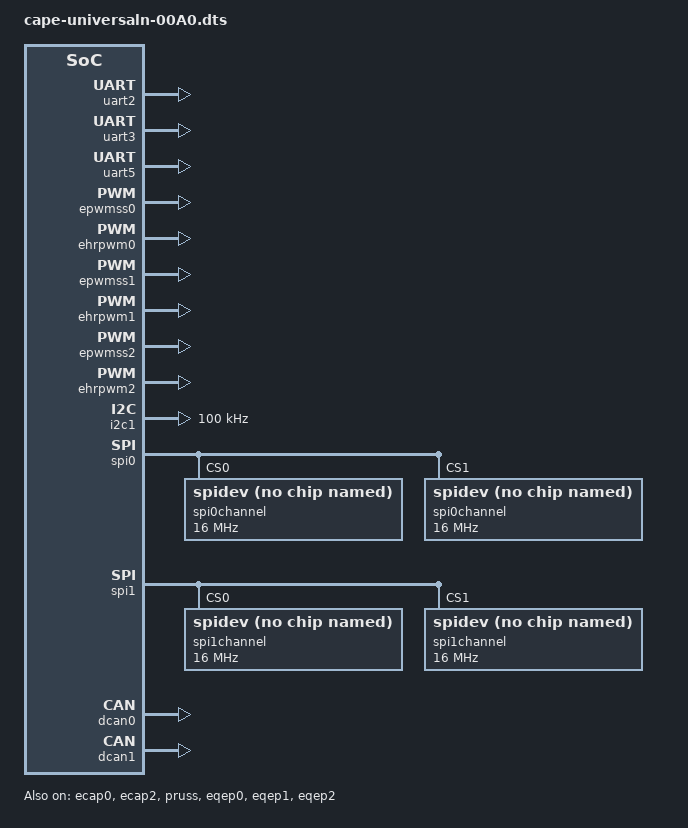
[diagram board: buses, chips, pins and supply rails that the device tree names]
// Copyright 2013
// Charles Steinkuehler <charles@steinkuehler.net>
//
// This program is free software; you can redistribute it and/or modify
// it under the terms of the GNU General Public License as published by
// the Free Software Foundation; either version 2 of the License, or
// (at your option) any later version.
//
// This program is distributed in the hope that it will be useful,
// but WITHOUT ANY WARRANTY; without even the implied warranty of
// MERCHANTABILITY or FITNESS FOR A PARTICULAR PURPOSE.  See the
// GNU General Public License for more details.
//
// You should have received a copy of the GNU General Public License
// along with this program; if not, write to the Free Software
// Foundation, Inc., 59 Temple Place, Suite 330, Boston, MA 02111-1307 USA

/dts-v1/;
/plugin/;

/ {
	compatible = "ti,beaglebone", "ti,beaglebone-black", "ti,beaglebone-green";

    /* identification */
    part-number = "cape-bone-universal";
    version = "00A0";

    /* state the resources this cape uses */
    exclusive-use =

/*      "P8.1",     GND     */
/*      "P8.2",     GND     */
/*      "P8.3",     emmc    */
/*      "P8.4",     emmc    */
/*      "P8.5",     emmc    */
/*      "P8.6",     emmc    */
        "P8.7",
        "P8.8",
        "P8.9",
        "P8.10",
        "P8.11",
        "P8.12",
        "P8.13",
        "P8.14",
        "P8.15",
        "P8.16",
        "P8.17",
        "P8.18",
        "P8.19",
/*      "P8.20",    emmc    */
/*      "P8.21",    emmc    */
/*      "P8.22",    emmc    */
/*      "P8.23",    emmc    */
/*      "P8.24",    emmc    */
/*      "P8.25",    emmc    */
        "P8.26",
/*      "P8.27",    hdmi    */
/*      "P8.28",    hdmi    */
/*      "P8.29",    hdmi    */
/*      "P8.30",    hdmi    */
/*      "P8.31",    hdmi    */
/*      "P8.32",    hdmi    */
/*      "P8.33",    hdmi    */
/*      "P8.34",    hdmi    */
/*      "P8.35",    hdmi    */
/*      "P8.36",    hdmi    */
/*      "P8.37",    hdmi    */
/*      "P8.38",    hdmi    */
/*      "P8.39",    hdmi    */
/*      "P8.40",    hdmi    */
/*      "P8.41",    hdmi    */
/*      "P8.42",    hdmi    */
/*      "P8.43",    hdmi    */
/*      "P8.44",    hdmi    */
/*      "P8.45",    hdmi    */
/*      "P8.46",    hdmi    */

/*      "P9.1",     GND     */
/*      "P9.2",     GND     */
/*      "P9.3",     3.3V    */
/*      "P9.4",     3.3V    */
/*      "P9.5",     VDD_5V  */
/*      "P9.6",     VDD_5V  */
/*      "P9.7",     SYS_5V  */
/*      "P9.8",     SYS_5V  */
/*      "P9.9",     PWR_BUT */
/*      "P9.10",    RESETn  */
        "P9.11",
        "P9.12",
        "P9.13",
        "P9.14",
        "P9.15",
        "P9.16",
        "P9.17",
        "P9.18",
/*      "P9.19",    I2C     */
/*      "P9.20",    I2C     */
        "P9.21",
        "P9.22",
        "P9.23",
        "P9.24",
/*      "P9.25",    Audio   */
        "P9.26",
        "P9.27",
/*      "P9.28",    Audio   */
/*      "P9.29",    Audio   */
        "P9.30",
/*      "P9.31",    Audio   */
/*      "P9.32",    VADC    */
/*      "P9.33",    AIN4    */
/*      "P9.34",    AGND    */
/*      "P9.35",    AIN6    */
/*      "P9.36",    AIN5    */
/*      "P9.37",    AIN2    */
/*      "P9.38",    AIN3    */
/*      "P9.39",    AIN0    */
/*      "P9.40",    AIN1    */
        "P9.41",
        "P9.41.1",
        "P9.42",
        "P9.42.1",
/*      "P9.43",    GND     */
/*      "P9.44",    GND     */
/*      "P9.45",    GND     */
/*      "P9.46",    GND     */

        "uart1",
        "uart2",
        "uart4",
//      "uart5",    /* Conflicts with HDMI  */

        "ehrpwm0A",
        "ehrpwm0B",
        "ehrpwm1A",
        "ehrpwm1B",
        "ehrpwm2A",
        "ehrpwm2B",

//        "epwmss0",
//        "ehrpwm0",
//        "ecap0",
//        "epwmss1",
//        "ehrpwm1",
//        "epwmss2",
//        "ehrpwm2",
//        "ecap2",

        "i2c1",
        "spi1",
        "spi0",
        "dcan0",
        "dcan1",

        "pru0",
        "pru1",
        "pruss";

    fragment@0 {
        target = <&am33xx_pinmux>;
        __overlay__ {

            /************************/
            /* P8 Header            */
            /************************/

            /* P8_01                GND     */
            /* P8_02                GND     */
            /* P8_03 (ZCZ ball R9 ) emmc    */
            /* P8_04 (ZCZ ball T9 ) emmc    */
            /* P8_05 (ZCZ ball R8 ) emmc    */
            /* P8_06 (ZCZ ball T8 ) emmc    */

            /* P8_07 (ZCZ ball R7 ) */
            P8_07_default_pin: pinmux_P8_07_default_pin {
                pinctrl-single,pins = <0x090  0x37>; };     /* Mode 7, Pull-Up, RxActive */
            P8_07_gpio_pin: pinmux_P8_07_gpio_pin {
                pinctrl-single,pins = <0x090  0x2F>; };     /* Mode 7, RxActive */
            P8_07_gpio_pu_pin: pinmux_P8_07_gpio_pu_pin {
                pinctrl-single,pins = <0x090  0x37>; };     /* Mode 7, Pull-Up, RxActive */
            P8_07_gpio_pd_pin: pinmux_P8_07_gpio_pd_pin {
                pinctrl-single,pins = <0x090  0x27>; };     /* Mode 7, Pull-Down, RxActive */
            P8_07_timer_pin: pinmux_P8_07_timer_pin {
                pinctrl-single,pins = <0x090  0x32>; };     /* Mode 2, Pull-Up, RxActive */

            /* P8_08 (ZCZ ball T7 ) */
            P8_08_default_pin: pinmux_P8_08_default_pin {
                pinctrl-single,pins = <0x094  0x37>; };     /* Mode 7, Pull-Up, RxActive */
            P8_08_gpio_pin: pinmux_P8_08_gpio_pin {
                pinctrl-single,pins = <0x094  0x2F>; };     /* Mode 7, RxActive */
            P8_08_gpio_pu_pin: pinmux_P8_08_gpio_pu_pin {
                pinctrl-single,pins = <0x094  0x37>; };     /* Mode 7, Pull-Up, RxActive */
            P8_08_gpio_pd_pin: pinmux_P8_08_gpio_pd_pin {
                pinctrl-single,pins = <0x094  0x27>; };     /* Mode 7, Pull-Down, RxActive */
            P8_08_timer_pin: pinmux_P8_08_timer_pin {
                pinctrl-single,pins = <0x094  0x32>; };     /* Mode 2, Pull-Up, RxActive */

            /* P8_09 (ZCZ ball T6 ) */
            P8_09_default_pin: pinmux_P8_09_default_pin {
                pinctrl-single,pins = <0x09c  0x37>; };     /* Mode 7, Pull-Up, RxActive */
            P8_09_gpio_pin: pinmux_P8_09_gpio_pin {
                pinctrl-single,pins = <0x09c  0x2F>; };     /* Mode 7, RxActive */
            P8_09_gpio_pu_pin: pinmux_P8_09_gpio_pu_pin {
                pinctrl-single,pins = <0x09c  0x37>; };     /* Mode 7, Pull-Up, RxActive */
            P8_09_gpio_pd_pin: pinmux_P8_09_gpio_pd_pin {
                pinctrl-single,pins = <0x09c  0x27>; };     /* Mode 7, Pull-Down, RxActive */
            P8_09_timer_pin: pinmux_P8_09_timer_pin {
                pinctrl-single,pins = <0x09c  0x32>; };     /* Mode 2, Pull-Up, RxActive */

            /* P8_10 (ZCZ ball U6 ) */
            P8_10_default_pin: pinmux_P8_10_default_pin {
                pinctrl-single,pins = <0x098  0x37>; };     /* Mode 7, Pull-Up, RxActive */
            P8_10_gpio_pin: pinmux_P8_10_gpio_pin {
                pinctrl-single,pins = <0x098  0x2F>; };     /* Mode 7, RxActive */
            P8_10_gpio_pu_pin: pinmux_P8_10_gpio_pu_pin {
                pinctrl-single,pins = <0x098  0x37>; };     /* Mode 7, Pull-Up, RxActive */
            P8_10_gpio_pd_pin: pinmux_P8_10_gpio_pd_pin {
                pinctrl-single,pins = <0x098  0x27>; };     /* Mode 7, Pull-Down, RxActive */
            P8_10_timer_pin: pinmux_P8_10_timer_pin {
                pinctrl-single,pins = <0x098  0x32>; };     /* Mode 2, Pull-Up, RxActive */

            /* P8_11 (ZCZ ball R12) */
            P8_11_default_pin: pinmux_P8_11_default_pin {
                pinctrl-single,pins = <0x034  0x27>; };     /* Mode 7, Pull-Down, RxActive */
            P8_11_gpio_pin: pinmux_P8_11_gpio_pin {
                pinctrl-single,pins = <0x034  0x2F>; };     /* Mode 7, RxActive */
            P8_11_gpio_pu_pin: pinmux_P8_11_gpio_pu_pin {
                pinctrl-single,pins = <0x034  0x37>; };     /* Mode 7, Pull-Up, RxActive */
            P8_11_gpio_pd_pin: pinmux_P8_11_gpio_pd_pin {
                pinctrl-single,pins = <0x034  0x27>; };     /* Mode 7, Pull-Down, RxActive */
            P8_11_pruout_pin: pinmux_P8_11_pruout_pin {
                pinctrl-single,pins = <0x034  0x26>; };     /* Mode 6, Pull-Down, RxActive */
            P8_11_qep_pin: pinmux_P8_11_qep_pin {
                pinctrl-single,pins = <0x034  0x24>; };     /* Mode 4, Pull-Down, RxActive */

            /* P8_12 (ZCZ ball T12) */
            P8_12_default_pin: pinmux_P8_12_default_pin {
                pinctrl-single,pins = <0x030  0x27>; };     /* Mode 7, Pull-Down, RxActive */
            P8_12_gpio_pin: pinmux_P8_12_gpio_pin {
                pinctrl-single,pins = <0x030  0x2F>; };     /* Mode 7, RxActive */
            P8_12_gpio_pu_pin: pinmux_P8_12_gpio_pu_pin {
                pinctrl-single,pins = <0x030  0x37>; };     /* Mode 7, Pull-Up, RxActive */
            P8_12_gpio_pd_pin: pinmux_P8_12_gpio_pd_pin {
                pinctrl-single,pins = <0x030  0x27>; };     /* Mode 7, Pull-Down, RxActive */
            P8_12_pruout_pin: pinmux_P8_12_pruout_pin {
                pinctrl-single,pins = <0x030  0x26>; };     /* Mode 6, Pull-Down, RxActive */
            P8_12_qep_pin: pinmux_P8_12_qep_pin {
                pinctrl-single,pins = <0x030  0x24>; };     /* Mode 4, Pull-Down, RxActive */

            /* P8_13 (ZCZ ball T10) */
            P8_13_default_pin: pinmux_P8_13_default_pin {
                pinctrl-single,pins = <0x024  0x27>; };     /* Mode 7, Pull-Down, RxActive */
            P8_13_gpio_pin: pinmux_P8_13_gpio_pin {
                pinctrl-single,pins = <0x024  0x2F>; };     /* Mode 7, RxActive */
            P8_13_gpio_pu_pin: pinmux_P8_13_gpio_pu_pin {
                pinctrl-single,pins = <0x024  0x37>; };     /* Mode 7, Pull-Up, RxActive */
            P8_13_gpio_pd_pin: pinmux_P8_13_gpio_pd_pin {
                pinctrl-single,pins = <0x024  0x27>; };     /* Mode 7, Pull-Down, RxActive */
            P8_13_pwm_pin: pinmux_P8_13_pwm_pin {
                pinctrl-single,pins = <0x024  0x24>; };     /* Mode 4, Pull-Down, RxActive */

            /* P8_14 (ZCZ ball T11) */
            P8_14_default_pin: pinmux_P8_14_default_pin {
                pinctrl-single,pins = <0x028  0x27>; };     /* Mode 7, Pull-Down, RxActive */
            P8_14_gpio_pin: pinmux_P8_14_gpio_pin {
                pinctrl-single,pins = <0x028  0x2F>; };     /* Mode 7, RxActive */
            P8_14_gpio_pu_pin: pinmux_P8_14_gpio_pu_pin {
                pinctrl-single,pins = <0x028  0x37>; };     /* Mode 7, Pull-Up, RxActive */
            P8_14_gpio_pd_pin: pinmux_P8_14_gpio_pd_pin {
                pinctrl-single,pins = <0x028  0x27>; };     /* Mode 7, Pull-Down, RxActive */
            P8_14_pwm_pin: pinmux_P8_14_pwm_pin {
                pinctrl-single,pins = <0x028  0x24>; };     /* Mode 4, Pull-Down, RxActive */

            /* P8_15 (ZCZ ball U13) */
            P8_15_default_pin: pinmux_P8_15_default_pin {
                pinctrl-single,pins = <0x03c  0x27>; };     /* Mode 7, Pull-Down, RxActive */
            P8_15_gpio_pin: pinmux_P8_15_gpio_pin {
                pinctrl-single,pins = <0x03c  0x2F>; };     /* Mode 7, RxActive */
            P8_15_gpio_pu_pin: pinmux_P8_15_gpio_pu_pin {
                pinctrl-single,pins = <0x03c  0x37>; };     /* Mode 7, Pull-Up, RxActive */
            P8_15_gpio_pd_pin: pinmux_P8_15_gpio_pd_pin {
                pinctrl-single,pins = <0x03c  0x27>; };     /* Mode 7, Pull-Down, RxActive */
            P8_15_pruin_pin: pinmux_P8_15_pruin_pin {
                pinctrl-single,pins = <0x03c  0x26>; };     /* Mode 6, Pull-Down, RxActive */
            P8_15_qep_pin: pinmux_P8_15_qep_pin {
                pinctrl-single,pins = <0x03c  0x24>; };     /* Mode 4, Pull-Down, RxActive */

            /* P8_16 (ZCZ ball V13) */
            P8_16_default_pin: pinmux_P8_16_default_pin {
                pinctrl-single,pins = <0x038  0x27>; };     /* Mode 7, Pull-Down, RxActive */
            P8_16_gpio_pin: pinmux_P8_16_gpio_pin {
                pinctrl-single,pins = <0x038  0x2F>; };     /* Mode 7, RxActive */
            P8_16_gpio_pu_pin: pinmux_P8_16_gpio_pu_pin {
                pinctrl-single,pins = <0x038  0x37>; };     /* Mode 7, Pull-Up, RxActive */
            P8_16_gpio_pd_pin: pinmux_P8_16_gpio_pd_pin {
                pinctrl-single,pins = <0x038  0x27>; };     /* Mode 7, Pull-Down, RxActive */
            P8_16_pruin_pin: pinmux_P8_16_pruin_pin {
                pinctrl-single,pins = <0x038  0x26>; };     /* Mode 6, Pull-Down, RxActive */
            P8_16_qep_pin: pinmux_P8_16_qep_pin {
                pinctrl-single,pins = <0x038  0x24>; };     /* Mode 4, Pull-Down, RxActive */

            /* P8_17 (ZCZ ball U12) */
            P8_17_default_pin: pinmux_P8_17_default_pin {
                pinctrl-single,pins = <0x02c  0x27>; };     /* Mode 7, Pull-Down, RxActive */
            P8_17_gpio_pin: pinmux_P8_17_gpio_pin {
                pinctrl-single,pins = <0x02c  0x2F>; };     /* Mode 7, RxActive */
            P8_17_gpio_pu_pin: pinmux_P8_17_gpio_pu_pin {
                pinctrl-single,pins = <0x02c  0x37>; };     /* Mode 7, Pull-Up, RxActive */
            P8_17_gpio_pd_pin: pinmux_P8_17_gpio_pd_pin {
                pinctrl-single,pins = <0x02c  0x27>; };     /* Mode 7, Pull-Down, RxActive */
            P8_17_pwm_pin: pinmux_P8_17_pwm_pin {
                pinctrl-single,pins = <0x02c  0x24>; };     /* Mode 4, Pull-Down, RxActive */

            /* P8_18 (ZCZ ball V12) */
            P8_18_default_pin: pinmux_P8_18_default_pin {
                pinctrl-single,pins = <0x08c  0x27>; };     /* Mode 7, Pull-Down, RxActive */
            P8_18_gpio_pin: pinmux_P8_18_gpio_pin {
                pinctrl-single,pins = <0x08c  0x2F>; };     /* Mode 7, RxActive */
            P8_18_gpio_pu_pin: pinmux_P8_18_gpio_pu_pin {
                pinctrl-single,pins = <0x08c  0x37>; };     /* Mode 7, Pull-Up, RxActive */
            P8_18_gpio_pd_pin: pinmux_P8_18_gpio_pd_pin {
                pinctrl-single,pins = <0x08c  0x27>; };     /* Mode 7, Pull-Down, RxActive */

            /* P8_19 (ZCZ ball U10) */
            P8_19_default_pin: pinmux_P8_19_default_pin {
                pinctrl-single,pins = <0x020  0x27>; };     /* Mode 7, Pull-Down, RxActive */
            P8_19_gpio_pin: pinmux_P8_19_gpio_pin {
                pinctrl-single,pins = <0x020  0x2F>; };     /* Mode 7, RxActive */
            P8_19_gpio_pu_pin: pinmux_P8_19_gpio_pu_pin {
                pinctrl-single,pins = <0x020  0x37>; };     /* Mode 7, Pull-Up, RxActive */
            P8_19_gpio_pd_pin: pinmux_P8_19_gpio_pd_pin {
                pinctrl-single,pins = <0x020  0x27>; };     /* Mode 7, Pull-Down, RxActive */
            P8_19_pwm_pin: pinmux_P8_19_pwm_pin {
                pinctrl-single,pins = <0x020  0x24>; };     /* Mode 4, Pull-Down, RxActive */

            /* P8_20 (ZCZ ball V9 ) emmc    */
            /* P8_21 (ZCZ ball U9 ) emmc    */
            /* P8_22 (ZCZ ball V8 ) emmc    */
            /* P8_23 (ZCZ ball U8 ) emmc    */
            /* P8_24 (ZCZ ball V7 ) emmc    */
            /* P8_25 (ZCZ ball U7 ) emmc    */

            /* P8_26 (ZCZ ball V6 ) */
            P8_26_default_pin: pinmux_P8_26_default_pin {
                pinctrl-single,pins = <0x07c  0x37>; };     /* Mode 7, Pull-Up, RxActive */
            P8_26_gpio_pin: pinmux_P8_26_gpio_pin {
                pinctrl-single,pins = <0x07c  0x2F>; };     /* Mode 7, RxActive */
            P8_26_gpio_pu_pin: pinmux_P8_26_gpio_pu_pin {
                pinctrl-single,pins = <0x07c  0x37>; };     /* Mode 7, Pull-Up, RxActive */
            P8_26_gpio_pd_pin: pinmux_P8_26_gpio_pd_pin {
                pinctrl-single,pins = <0x07c  0x27>; };     /* Mode 7, Pull-Down, RxActive */

            /* P8_27 (ZCZ ball U5 ) hdmi    */
            /* P8_28 (ZCZ ball V5 ) hdmi    */
            /* P8_29 (ZCZ ball R5 ) hdmi    */
            /* P8_30 (ZCZ ball R6 ) hdmi    */
            /* P8_31 (ZCZ ball V4 ) hdmi    */
            /* P8_32 (ZCZ ball T5 ) hdmi    */
            /* P8_33 (ZCZ ball V3 ) hdmi    */
            /* P8_34 (ZCZ ball U4 ) hdmi    */
            /* P8_35 (ZCZ ball V2 ) hdmi    */
            /* P8_36 (ZCZ ball U3 ) hdmi    */
            /* P8_37 (ZCZ ball U1 ) hdmi    */
            /* P8_38 (ZCZ ball U2 ) hdmi    */
            /* P8_39 (ZCZ ball T3 ) hdmi    */
            /* P8_40 (ZCZ ball T4 ) hdmi    */
            /* P8_41 (ZCZ ball T1 ) hdmi    */
            /* P8_42 (ZCZ ball T2 ) hdmi    */
            /* P8_43 (ZCZ ball R3 ) hdmi    */
            /* P8_44 (ZCZ ball R4 ) hdmi    */
            /* P8_45 (ZCZ ball R1 ) hdmi    */
            /* P8_46 (ZCZ ball R2 ) hdmi    */


            /************************/
            /* P9 Header            */
            /************************/

            /* P9_01                GND     */
            /* P9_02                GND     */
            /* P9_03                3.3V    */
            /* P9_04                3.3V    */
            /* P9_05                VDD_5V  */
            /* P9_06                VDD_5V  */
            /* P9_07                SYS_5V  */
            /* P9_08                SYS_5V  */
            /* P9_09                PWR_BUT */
            /* P9_10 (ZCZ ball A10) RESETn  */

            /* P9_11 (ZCZ ball T17) */
            P9_11_default_pin: pinmux_P9_11_default_pin {
                pinctrl-single,pins = <0x070  0x37>; };     /* Mode 7, Pull-Up, RxActive */
            P9_11_gpio_pin: pinmux_P9_11_gpio_pin {
                pinctrl-single,pins = <0x070  0x2F>; };     /* Mode 7, RxActive */
            P9_11_gpio_pu_pin: pinmux_P9_11_gpio_pu_pin {
                pinctrl-single,pins = <0x070  0x37>; };     /* Mode 7, Pull-Up, RxActive */
            P9_11_gpio_pd_pin: pinmux_P9_11_gpio_pd_pin {
                pinctrl-single,pins = <0x070  0x27>; };     /* Mode 7, Pull-Down, RxActive */
            P9_11_uart_pin: pinmux_P9_11_uart_pin {
                pinctrl-single,pins = <0x070  0x36>; };     /* Mode 6, Pull-Up, RxActive */

            /* P9_12 (ZCZ ball U18) */
            P9_12_default_pin: pinmux_P9_12_default_pin {
                pinctrl-single,pins = <0x078  0x37>; };     /* Mode 7, Pull-Up, RxActive */
            P9_12_gpio_pin: pinmux_P9_12_gpio_pin {
                pinctrl-single,pins = <0x078  0x2F>; };     /* Mode 7, RxActive */
            P9_12_gpio_pu_pin: pinmux_P9_12_gpio_pu_pin {
                pinctrl-single,pins = <0x078  0x37>; };     /* Mode 7, Pull-Up, RxActive */
            P9_12_gpio_pd_pin: pinmux_P9_12_gpio_pd_pin {
                pinctrl-single,pins = <0x078  0x27>; };     /* Mode 7, Pull-Down, RxActive */

            /* P9_13 (ZCZ ball U17) */
            P9_13_default_pin: pinmux_P9_13_default_pin {
                pinctrl-single,pins = <0x074  0x37>; };     /* Mode 7, Pull-Up, RxActive */
            P9_13_gpio_pin: pinmux_P9_13_gpio_pin {
                pinctrl-single,pins = <0x074  0x2F>; };     /* Mode 7, RxActive */
            P9_13_gpio_pu_pin: pinmux_P9_13_gpio_pu_pin {
                pinctrl-single,pins = <0x074  0x37>; };     /* Mode 7, Pull-Up, RxActive */
            P9_13_gpio_pd_pin: pinmux_P9_13_gpio_pd_pin {
                pinctrl-single,pins = <0x074  0x27>; };     /* Mode 7, Pull-Down, RxActive */
            P9_13_uart_pin: pinmux_P9_13_uart_pin {
                pinctrl-single,pins = <0x074  0x36>; };     /* Mode 6, Pull-Up, RxActive */

            /* P9_14 (ZCZ ball U14) */
            P9_14_default_pin: pinmux_P9_14_default_pin {
                pinctrl-single,pins = <0x048  0x27>; };     /* Mode 7, Pull-Down, RxActive */
            P9_14_gpio_pin: pinmux_P9_14_gpio_pin {
                pinctrl-single,pins = <0x048  0x2F>; };     /* Mode 7, RxActive */
            P9_14_gpio_pu_pin: pinmux_P9_14_gpio_pu_pin {
                pinctrl-single,pins = <0x048  0x37>; };     /* Mode 7, Pull-Up, RxActive */
            P9_14_gpio_pd_pin: pinmux_P9_14_gpio_pd_pin {
                pinctrl-single,pins = <0x048  0x27>; };     /* Mode 7, Pull-Down, RxActive */
            P9_14_pwm_pin: pinmux_P9_14_pwm_pin {
                pinctrl-single,pins = <0x048  0x26>; };     /* Mode 6, Pull-Down, RxActive */

            /* P9_15 (ZCZ ball R13) */
            P9_15_default_pin: pinmux_P9_15_default_pin {
                pinctrl-single,pins = <0x040  0x27>; };     /* Mode 7, Pull-Down, RxActive */
            P9_15_gpio_pin: pinmux_P9_15_gpio_pin {
                pinctrl-single,pins = <0x040  0x2F>; };     /* Mode 7, RxActive */
            P9_15_gpio_pu_pin: pinmux_P9_15_gpio_pu_pin {
                pinctrl-single,pins = <0x040  0x37>; };     /* Mode 7, Pull-Up, RxActive */
            P9_15_gpio_pd_pin: pinmux_P9_15_gpio_pd_pin {
                pinctrl-single,pins = <0x040  0x27>; };     /* Mode 7, Pull-Down, RxActive */
            P9_15_pwm_pin: pinmux_P9_15_pwm_pin {
                pinctrl-single,pins = <0x040  0x26>; };     /* Mode 6, Pull-Down, RxActive */

            /* P9_16 (ZCZ ball T14) */
            P9_16_default_pin: pinmux_P9_16_default_pin {
                pinctrl-single,pins = <0x04c  0x27>; };     /* Mode 7, Pull-Down, RxActive */
            P9_16_gpio_pin: pinmux_P9_16_gpio_pin {
                pinctrl-single,pins = <0x04c  0x2F>; };     /* Mode 7, RxActive */
            P9_16_gpio_pu_pin: pinmux_P9_16_gpio_pu_pin {
                pinctrl-single,pins = <0x04c  0x37>; };     /* Mode 7, Pull-Up, RxActive */
            P9_16_gpio_pd_pin: pinmux_P9_16_gpio_pd_pin {
                pinctrl-single,pins = <0x04c  0x27>; };     /* Mode 7, Pull-Down, RxActive */
            P9_16_pwm_pin: pinmux_P9_16_pwm_pin {
                pinctrl-single,pins = <0x04c  0x26>; };     /* Mode 6, Pull-Down, RxActive */

            /* P9_17 (ZCZ ball A16) */
            P9_17_default_pin: pinmux_P9_17_default_pin {
                pinctrl-single,pins = <0x15c  0x37>; };     /* Mode 7, Pull-Up, RxActive */
            P9_17_gpio_pin: pinmux_P9_17_gpio_pin {
                pinctrl-single,pins = <0x15c  0x2F>; };     /* Mode 7, RxActive */
            P9_17_gpio_pu_pin: pinmux_P9_17_gpio_pu_pin {
                pinctrl-single,pins = <0x15c  0x37>; };     /* Mode 7, Pull-Up, RxActive */
            P9_17_gpio_pd_pin: pinmux_P9_17_gpio_pd_pin {
                pinctrl-single,pins = <0x15c  0x27>; };     /* Mode 7, Pull-Down, RxActive */
            P9_17_spi_pin: pinmux_P9_17_spi_pin {
                pinctrl-single,pins = <0x15c  0x30>; };     /* Mode 0, Pull-Up, RxActive */
            P9_17_i2c_pin: pinmux_P9_17_i2c_pin {
                pinctrl-single,pins = <0x15c  0x32>; };     /* Mode 2, Pull-Up, RxActive */
            P9_17_pwm_pin: pinmux_P9_17_pwm_pin {
                pinctrl-single,pins = <0x15c  0x33>; };     /* Mode 3, Pull-Up, RxActive */

            /* P9_18 (ZCZ ball B16) */
            P9_18_default_pin: pinmux_P9_18_default_pin {
                pinctrl-single,pins = <0x158  0x37>; };     /* Mode 7, Pull-Up, RxActive */
            P9_18_gpio_pin: pinmux_P9_18_gpio_pin {
                pinctrl-single,pins = <0x158  0x2F>; };     /* Mode 7, RxActive */
            P9_18_gpio_pu_pin: pinmux_P9_18_gpio_pu_pin {
                pinctrl-single,pins = <0x158  0x37>; };     /* Mode 7, Pull-Up, RxActive */
            P9_18_gpio_pd_pin: pinmux_P9_18_gpio_pd_pin {
                pinctrl-single,pins = <0x158  0x27>; };     /* Mode 7, Pull-Down, RxActive */
            P9_18_spi_pin: pinmux_P9_18_spi_pin {
                pinctrl-single,pins = <0x158  0x30>; };     /* Mode 0, Pull-Up, RxActive */
            P9_18_i2c_pin: pinmux_P9_18_i2c_pin {
                pinctrl-single,pins = <0x158  0x32>; };     /* Mode 2, Pull-Up, RxActive */
            P9_18_pwm_pin: pinmux_P9_18_pwm_pin {
                pinctrl-single,pins = <0x158  0x33>; };     /* Mode 3, Pull-Up, RxActive */

            // Leave the cape I2C EEPROM bus alone
            /* P9_19 (ZCZ ball D17) I2C     */
            /* P9_20 (ZCZ ball D18) I2C     */

            /* P9_21 (ZCZ ball B17) */
            P9_21_default_pin: pinmux_P9_21_default_pin {
                pinctrl-single,pins = <0x154  0x37>; };     /* Mode 7, Pull-Up, RxActive */
            P9_21_gpio_pin: pinmux_P9_21_gpio_pin {
                pinctrl-single,pins = <0x154  0x2F>; };     /* Mode 7, RxActive */
            P9_21_gpio_pu_pin: pinmux_P9_21_gpio_pu_pin {
                pinctrl-single,pins = <0x154  0x37>; };     /* Mode 7, Pull-Up, RxActive */
            P9_21_gpio_pd_pin: pinmux_P9_21_gpio_pd_pin {
                pinctrl-single,pins = <0x154  0x27>; };     /* Mode 7, Pull-Down, RxActive */
            P9_21_spi_pin: pinmux_P9_21_spi_pin {
                pinctrl-single,pins = <0x154  0x30>; };     /* Mode 0, Pull-Up, RxActive */
            P9_21_uart_pin: pinmux_P9_21_uart_pin {
                pinctrl-single,pins = <0x154  0x31>; };     /* Mode 1, Pull-Up, RxActive */
            P9_21_i2c_pin: pinmux_P9_21_i2c_pin {
                pinctrl-single,pins = <0x154  0x32>; };     /* Mode 2, Pull-Up, RxActive */
            P9_21_pwm_pin: pinmux_P9_21_pwm_pin {
                pinctrl-single,pins = <0x154  0x33>; };     /* Mode 3, Pull-Up, RxActive */

            /* P9_22 (ZCZ ball A17) */
            P9_22_default_pin: pinmux_P9_22_default_pin {
                pinctrl-single,pins = <0x150  0x37>; };     /* Mode 7, Pull-Up, RxActive */
            P9_22_gpio_pin: pinmux_P9_22_gpio_pin {
                pinctrl-single,pins = <0x150  0x2F>; };     /* Mode 7, RxActive */
            P9_22_gpio_pu_pin: pinmux_P9_22_gpio_pu_pin {
                pinctrl-single,pins = <0x150  0x37>; };     /* Mode 7, Pull-Up, RxActive */
            P9_22_gpio_pd_pin: pinmux_P9_22_gpio_pd_pin {
                pinctrl-single,pins = <0x150  0x27>; };     /* Mode 7, Pull-Down, RxActive */
            P9_22_spi_pin: pinmux_P9_22_spi_pin {
                pinctrl-single,pins = <0x150  0x30>; };     /* Mode 0, Pull-Up, RxActive */
            P9_22_uart_pin: pinmux_P9_22_uart_pin {
                pinctrl-single,pins = <0x150  0x31>; };     /* Mode 1, Pull-Up, RxActive */
            P9_22_i2c_pin: pinmux_P9_22_i2c_pin {
                pinctrl-single,pins = <0x150  0x32>; };     /* Mode 2, Pull-Up, RxActive */
            P9_22_pwm_pin: pinmux_P9_22_pwm_pin {
                pinctrl-single,pins = <0x150  0x33>; };     /* Mode 3, Pull-Up, RxActive */

            /* P9_23 (ZCZ ball V14) */
            P9_23_default_pin: pinmux_P9_23_default_pin {
                pinctrl-single,pins = <0x044  0x27>; };     /* Mode 7, Pull-Down, RxActive */
            P9_23_gpio_pin: pinmux_P9_23_gpio_pin {
                pinctrl-single,pins = <0x044  0x2F>; };     /* Mode 7, RxActive */
            P9_23_gpio_pu_pin: pinmux_P9_23_gpio_pu_pin {
                pinctrl-single,pins = <0x044  0x37>; };     /* Mode 7, Pull-Up, RxActive */
            P9_23_gpio_pd_pin: pinmux_P9_23_gpio_pd_pin {
                pinctrl-single,pins = <0x044  0x27>; };     /* Mode 7, Pull-Down, RxActive */
            P9_23_pwm_pin: pinmux_P9_23_pwm_pin {
                pinctrl-single,pins = <0x044  0x26>; };     /* Mode 6, Pull-Down, RxActive */

            /* P9_24 (ZCZ ball D15) */
            P9_24_default_pin: pinmux_P9_24_default_pin {
                pinctrl-single,pins = <0x184  0x37>; };     /* Mode 7, Pull-Up, RxActive */
            P9_24_gpio_pin: pinmux_P9_24_gpio_pin {
                pinctrl-single,pins = <0x184  0x2F>; };     /* Mode 7, RxActive */
            P9_24_gpio_pu_pin: pinmux_P9_24_gpio_pu_pin {
                pinctrl-single,pins = <0x184  0x37>; };     /* Mode 7, Pull-Up, RxActive */
            P9_24_gpio_pd_pin: pinmux_P9_24_gpio_pd_pin {
                pinctrl-single,pins = <0x184  0x27>; };     /* Mode 7, Pull-Down, RxActive */
            P9_24_uart_pin: pinmux_P9_24_uart_pin {
                pinctrl-single,pins = <0x184  0x30>; };     /* Mode 0, Pull-Up, RxActive */
            P9_24_can_pin: pinmux_P9_24_can_pin {
                pinctrl-single,pins = <0x184  0x32>; };     /* Mode 2, Pull-Up, RxActive */
            P9_24_i2c_pin: pinmux_P9_24_i2c_pin {
                pinctrl-single,pins = <0x184  0x33>; };     /* Mode 3, Pull-Up, RxActive */
            P9_24_pruin_pin: pinmux_P9_24_pruin_pin {
                pinctrl-single,pins = <0x184  0x36>; };     /* Mode 6, Pull-Up, RxActive */

            /* P9_25 (ZCZ ball A14) Audio   */

            /* P9_26 (ZCZ ball D16) */
            P9_26_default_pin: pinmux_P9_26_default_pin {
                pinctrl-single,pins = <0x180  0x37>; };     /* Mode 7, Pull-Up, RxActive */
            P9_26_gpio_pin: pinmux_P9_26_gpio_pin {
                pinctrl-single,pins = <0x180  0x2F>; };     /* Mode 7, RxActive */
            P9_26_gpio_pu_pin: pinmux_P9_26_gpio_pu_pin {
                pinctrl-single,pins = <0x180  0x37>; };     /* Mode 7, Pull-Up, RxActive */
            P9_26_gpio_pd_pin: pinmux_P9_26_gpio_pd_pin {
                pinctrl-single,pins = <0x180  0x27>; };     /* Mode 7, Pull-Down, RxActive */
            P9_26_uart_pin: pinmux_P9_26_uart_pin {
                pinctrl-single,pins = <0x180  0x30>; };     /* Mode 0, Pull-Up, RxActive */
            P9_26_can_pin: pinmux_P9_26_can_pin {
                pinctrl-single,pins = <0x180  0x32>; };     /* Mode 2, Pull-Up, RxActive */
            P9_26_i2c_pin: pinmux_P9_26_i2c_pin {
                pinctrl-single,pins = <0x180  0x33>; };     /* Mode 3, Pull-Up, RxActive */
            P9_26_pruin_pin: pinmux_P9_26_pruin_pin {
                pinctrl-single,pins = <0x180  0x36>; };     /* Mode 6, Pull-Up, RxActive */

            /* P9_27 (ZCZ ball C13) */
            P9_27_default_pin: pinmux_P9_27_default_pin {
                pinctrl-single,pins = <0x1a4  0x27>; };     /* Mode 7, Pull-Down, RxActive */
            P9_27_gpio_pin: pinmux_P9_27_gpio_pin {
                pinctrl-single,pins = <0x1a4  0x2F>; };     /* Mode 7, RxActive */
            P9_27_gpio_pu_pin: pinmux_P9_27_gpio_pu_pin {
                pinctrl-single,pins = <0x1a4  0x37>; };     /* Mode 7, Pull-Up, RxActive */
            P9_27_gpio_pd_pin: pinmux_P9_27_gpio_pd_pin {
                pinctrl-single,pins = <0x1a4  0x27>; };     /* Mode 7, Pull-Down, RxActive */
            P9_27_qep_pin: pinmux_P9_27_qep_pin {
                pinctrl-single,pins = <0x1a4  0x21>; };     /* Mode 1, Pull-Down, RxActive */
            P9_27_pruout_pin: pinmux_P9_27_pruout_pin {
                pinctrl-single,pins = <0x1a4  0x25>; };     /* Mode 5, Pull-Down, RxActive */
            P9_27_pruin_pin: pinmux_P9_27_pruin_pin {
                pinctrl-single,pins = <0x1a4  0x26>; };     /* Mode 6, Pull-Down, RxActive */

            /* P9_28 (ZCZ ball C12) Audio   */
            /* P9_29 (ZCZ ball B13) Audio   */

            /* P9_30 (ZCZ ball D12) */
            P9_30_default_pin: pinmux_P9_30_default_pin {
                pinctrl-single,pins = <0x198  0x27>; };     /* Mode 7, Pull-Down, RxActive */
            P9_30_gpio_pin: pinmux_P9_30_gpio_pin {
                pinctrl-single,pins = <0x198  0x2F>; };     /* Mode 7, RxActive */
            P9_30_gpio_pu_pin: pinmux_P9_30_gpio_pu_pin {
                pinctrl-single,pins = <0x198  0x37>; };     /* Mode 7, Pull-Up, RxActive */
            P9_30_gpio_pd_pin: pinmux_P9_30_gpio_pd_pin {
                pinctrl-single,pins = <0x198  0x27>; };     /* Mode 7, Pull-Down, RxActive */
            P9_30_pwm_pin: pinmux_P9_30_pwm_pin {
                pinctrl-single,pins = <0x198  0x21>; };     /* Mode 1, Pull-Down, RxActive */
            P9_30_spi_pin: pinmux_P9_30_spi_pin {
                pinctrl-single,pins = <0x198  0x23>; };     /* Mode 3, Pull-Down, RxActive */
            P9_30_pruout_pin: pinmux_P9_30_pruout_pin {
                pinctrl-single,pins = <0x198  0x25>; };     /* Mode 5, Pull-Down, RxActive */
            P9_30_pruin_pin: pinmux_P9_30_pruin_pin {
                pinctrl-single,pins = <0x198  0x26>; };     /* Mode 6, Pull-Down, RxActive */

            /* P9_31 (ZCZ ball A13) Audio   */

            /* P9_32                VADC    */
            /* P9_33 (ZCZ ball C8 ) AIN4    */
            /* P9_34                AGND    */
            /* P9_35 (ZCZ ball A8 ) AIN6    */
            /* P9_36 (ZCZ ball B8 ) AIN5    */
            /* P9_37 (ZCZ ball B7 ) AIN2    */
            /* P9_38 (ZCZ ball A7 ) AIN3    */
            /* P9_39 (ZCZ ball B6 ) AIN0    */
            /* P9_40 (ZCZ ball C7 ) AIN1    */

            /* P9_41 (ZCZ ball D14) */
            P9_41_default_pin: pinmux_P9_41_default_pin {
                pinctrl-single,pins = <0x1b4  0x27>; };     /* Mode 7, Pull-Down, RxActive */
            P9_41_gpio_pin: pinmux_P9_41_gpio_pin {
                pinctrl-single,pins = <0x1b4  0x2F>; };     /* Mode 7, RxActive */
            P9_41_gpio_pu_pin: pinmux_P9_41_gpio_pu_pin {
                pinctrl-single,pins = <0x1b4  0x37>; };     /* Mode 7, Pull-Up, RxActive */
            P9_41_gpio_pd_pin: pinmux_P9_41_gpio_pd_pin {
                pinctrl-single,pins = <0x1b4  0x27>; };     /* Mode 7, Pull-Down, RxActive */
            P9_41_timer_pin: pinmux_P9_41_timer_pin {
                pinctrl-single,pins = <0x1b4  0x24>; };     /* Mode 4, Pull-Down, RxActive */
            P9_41_pruin_pin: pinmux_P9_41_pruin_pin {
                pinctrl-single,pins = <0x1b4  0x25>; };     /* Mode 5, Pull-Down, RxActive */

            /* P9_41.1              */
            /* P9_91 (ZCZ ball D13) */
            P9_91_default_pin: pinmux_P9_91_default_pin {
                pinctrl-single,pins = <0x1a8  0x27>; };     /* Mode 7, Pull-Down, RxActive */
            P9_91_gpio_pin: pinmux_P9_91_gpio_pin {
                pinctrl-single,pins = <0x1a8  0x2F>; };     /* Mode 7, RxActive */
            P9_91_gpio_pu_pin: pinmux_P9_91_gpio_pu_pin {
                pinctrl-single,pins = <0x1a8  0x37>; };     /* Mode 7, Pull-Up, RxActive */
            P9_91_gpio_pd_pin: pinmux_P9_91_gpio_pd_pin {
                pinctrl-single,pins = <0x1a8  0x27>; };     /* Mode 7, Pull-Down, RxActive */
            P9_91_qep_pin: pinmux_P9_91_qep_pin {
                pinctrl-single,pins = <0x1a8  0x21>; };     /* Mode 1, Pull-Down, RxActive */
            P9_91_pruout_pin: pinmux_P9_91_pruout_pin {
                pinctrl-single,pins = <0x1a8  0x25>; };     /* Mode 5, Pull-Down, RxActive */
            P9_91_pruin_pin: pinmux_P9_91_pruin_pin {
                pinctrl-single,pins = <0x1a8  0x26>; };     /* Mode 6, Pull-Down, RxActive */

            /* P9_42 (ZCZ ball C18) */
            P9_42_default_pin: pinmux_P9_42_default_pin {
                pinctrl-single,pins = <0x164  0x27>; };     /* Mode 7, Pull-Down, RxActive */
            P9_42_gpio_pin: pinmux_P9_42_gpio_pin {
                pinctrl-single,pins = <0x164  0x2F>; };     /* Mode 7, RxActive */
            P9_42_gpio_pu_pin: pinmux_P9_42_gpio_pu_pin {
                pinctrl-single,pins = <0x164  0x37>; };     /* Mode 7, Pull-Up, RxActive */
            P9_42_gpio_pd_pin: pinmux_P9_42_gpio_pd_pin {
                pinctrl-single,pins = <0x164  0x27>; };     /* Mode 7, Pull-Down, RxActive */
            P9_42_pwm_pin: pinmux_P9_42_pwm_pin {
                pinctrl-single,pins = <0x164  0x20>; };     /* Mode 0, Pull-Down, RxActive */
            P9_42_uart_pin: pinmux_P9_42_uart_pin {
                pinctrl-single,pins = <0x164  0x21>; };     /* Mode 1, Pull-Down, RxActive */
            P9_42_spics_pin: pinmux_P9_42_spics_pin {
                pinctrl-single,pins = <0x164  0x22>; };     /* Mode 2, Pull-Down, RxActive */
            P9_42_spiclk_pin: pinmux_P9_42_spiclk_pin {
                pinctrl-single,pins = <0x164  0x24>; };     /* Mode 4, Pull-Down, RxActive */

            /* P9_42.1              */
            /* P9_92 (ZCZ ball B12) */
            P9_92_default_pin: pinmux_P9_92_default_pin {
                pinctrl-single,pins = <0x1a0  0x27>; };     /* Mode 7, Pull-Down, RxActive */
            P9_92_gpio_pin: pinmux_P9_92_gpio_pin {
                pinctrl-single,pins = <0x1a0  0x2F>; };     /* Mode 7, RxActive */
            P9_92_gpio_pu_pin: pinmux_P9_92_gpio_pu_pin {
                pinctrl-single,pins = <0x1a0  0x37>; };     /* Mode 7, Pull-Up, RxActive */
            P9_92_gpio_pd_pin: pinmux_P9_92_gpio_pd_pin {
                pinctrl-single,pins = <0x1a0  0x27>; };     /* Mode 7, Pull-Down, RxActive */
            P9_92_qep_pin: pinmux_P9_92_qep_pin {
                pinctrl-single,pins = <0x1a0  0x21>; };     /* Mode 1, Pull-Down, RxActive */
            P9_92_pruout_pin: pinmux_P9_92_pruout_pin {
                pinctrl-single,pins = <0x1a0  0x25>; };     /* Mode 5, Pull-Down, RxActive */
            P9_92_pruin_pin: pinmux_P9_92_pruin_pin {
                pinctrl-single,pins = <0x1a0  0x26>; };     /* Mode 6, Pull-Down, RxActive */

            /* P9_43                GND     */
            /* P9_44                GND     */
            /* P9_45                GND     */
            /* P9_46                GND     */

        };
    };


    /************************/
    /* Pin Multiplexing     */
    /************************/

    fragment@1 {
        target = <&ocp>;
        __overlay__ {

            /************************/
            /* P8 Header            */
            /************************/

            P8_07_pinmux {
                compatible = "bone-pinmux-helper";
                status = "okay";

                pinctrl-names = "default", "gpio", "gpio_pu", "gpio_pd", "timer";
                pinctrl-0 = <&P8_07_default_pin>;
                pinctrl-1 = <&P8_07_gpio_pin>;
                pinctrl-2 = <&P8_07_gpio_pu_pin>;
                pinctrl-3 = <&P8_07_gpio_pd_pin>;
                pinctrl-4 = <&P8_07_timer_pin>;
            };

            P8_08_pinmux {
                compatible = "bone-pinmux-helper";
                status = "okay";
                pinctrl-names = "default", "gpio", "gpio_pu", "gpio_pd", "timer";
                pinctrl-0 = <&P8_08_default_pin>;
                pinctrl-1 = <&P8_08_gpio_pin>;
                pinctrl-2 = <&P8_08_gpio_pu_pin>;
                pinctrl-3 = <&P8_08_gpio_pd_pin>;
                pinctrl-4 = <&P8_08_timer_pin>;
            };

            P8_09_pinmux {
                compatible = "bone-pinmux-helper";
                status = "okay";
                pinctrl-names = "default", "gpio", "gpio_pu", "gpio_pd", "timer";
                pinctrl-0 = <&P8_09_default_pin>;
                pinctrl-1 = <&P8_09_gpio_pin>;
                pinctrl-2 = <&P8_09_gpio_pu_pin>;
                pinctrl-3 = <&P8_09_gpio_pd_pin>;
                pinctrl-4 = <&P8_09_timer_pin>;
            };

            P8_10_pinmux {
                compatible = "bone-pinmux-helper";
                status = "okay";
                pinctrl-names = "default", "gpio", "gpio_pu", "gpio_pd", "timer";
                pinctrl-0 = <&P8_10_default_pin>;
                pinctrl-1 = <&P8_10_gpio_pin>;
                pinctrl-2 = <&P8_10_gpio_pu_pin>;
                pinctrl-3 = <&P8_10_gpio_pd_pin>;
                pinctrl-4 = <&P8_10_timer_pin>;
            };

            P8_11_pinmux {
                compatible = "bone-pinmux-helper";
                status = "okay";
                pinctrl-names = "default", "gpio", "gpio_pu", "gpio_pd", "pruout", "qep";
                pinctrl-0 = <&P8_11_default_pin>;
                pinctrl-1 = <&P8_11_gpio_pin>;
                pinctrl-2 = <&P8_11_gpio_pu_pin>;
                pinctrl-3 = <&P8_11_gpio_pd_pin>;
                pinctrl-4 = <&P8_11_pruout_pin>;
                pinctrl-5 = <&P8_11_qep_pin>;
            };

            P8_12_pinmux {
                compatible = "bone-pinmux-helper";
                status = "okay";
                pinctrl-names = "default", "gpio", "gpio_pu", "gpio_pd", "pruout", "qep";
                pinctrl-0 = <&P8_12_default_pin>;
                pinctrl-1 = <&P8_12_gpio_pin>;
                pinctrl-2 = <&P8_12_gpio_pu_pin>;
                pinctrl-3 = <&P8_12_gpio_pd_pin>;
                pinctrl-4 = <&P8_12_pruout_pin>;
                pinctrl-5 = <&P8_12_qep_pin>;
            };

            P8_13_pinmux {
                compatible = "bone-pinmux-helper";
                status = "okay";
                pinctrl-names = "default", "gpio", "gpio_pu", "gpio_pd", "pwm";
                pinctrl-0 = <&P8_13_default_pin>;
                pinctrl-1 = <&P8_13_gpio_pin>;
                pinctrl-2 = <&P8_13_gpio_pu_pin>;
                pinctrl-3 = <&P8_13_gpio_pd_pin>;
                pinctrl-4 = <&P8_13_pwm_pin>;
            };

            P8_14_pinmux {
                compatible = "bone-pinmux-helper";
                status = "okay";
                pinctrl-names = "default", "gpio", "gpio_pu", "gpio_pd", "pwm";
                pinctrl-0 = <&P8_14_default_pin>;
                pinctrl-1 = <&P8_14_gpio_pin>;
                pinctrl-2 = <&P8_14_gpio_pu_pin>;
                pinctrl-3 = <&P8_14_gpio_pd_pin>;
                pinctrl-4 = <&P8_14_pwm_pin>;
            };

            P8_15_pinmux {
                compatible = "bone-pinmux-helper";
                status = "okay";
                pinctrl-names = "default", "gpio", "gpio_pu", "gpio_pd", "pruin", "qep";
                pinctrl-0 = <&P8_15_default_pin>;
                pinctrl-1 = <&P8_15_gpio_pin>;
                pinctrl-2 = <&P8_15_gpio_pu_pin>;
                pinctrl-3 = <&P8_15_gpio_pd_pin>;
                pinctrl-4 = <&P8_15_pruin_pin>;
                pinctrl-5 = <&P8_15_qep_pin>;
            };

            P8_16_pinmux {
                compatible = "bone-pinmux-helper";
                status = "okay";
                pinctrl-names = "default", "gpio", "gpio_pu", "gpio_pd", "pruin", "qep";
                pinctrl-0 = <&P8_16_default_pin>;
                pinctrl-1 = <&P8_16_gpio_pin>;
                pinctrl-2 = <&P8_16_gpio_pu_pin>;
                pinctrl-3 = <&P8_16_gpio_pd_pin>;
                pinctrl-4 = <&P8_16_pruin_pin>;
                pinctrl-5 = <&P8_16_qep_pin>;
            };

            P8_17_pinmux {
                compatible = "bone-pinmux-helper";
                status = "okay";
                pinctrl-names = "default", "gpio", "gpio_pu", "gpio_pd", "pwm";
                pinctrl-0 = <&P8_17_default_pin>;
                pinctrl-1 = <&P8_17_gpio_pin>;
                pinctrl-2 = <&P8_17_gpio_pu_pin>;
                pinctrl-3 = <&P8_17_gpio_pd_pin>;
                pinctrl-4 = <&P8_17_pwm_pin>;
            };

            P8_18_pinmux {
                compatible = "bone-pinmux-helper";
                status = "okay";
                pinctrl-names = "default", "gpio", "gpio_pu", "gpio_pd";
                pinctrl-0 = <&P8_18_default_pin>;
                pinctrl-1 = <&P8_18_gpio_pin>;
                pinctrl-2 = <&P8_18_gpio_pu_pin>;
                pinctrl-3 = <&P8_18_gpio_pd_pin>;
            };

            P8_19_pinmux {
                compatible = "bone-pinmux-helper";
                status = "okay";
                pinctrl-names = "default", "gpio", "gpio_pu", "gpio_pd", "pwm";
                pinctrl-0 = <&P8_19_default_pin>;
                pinctrl-1 = <&P8_19_gpio_pin>;
                pinctrl-2 = <&P8_19_gpio_pu_pin>;
                pinctrl-3 = <&P8_19_gpio_pd_pin>;
                pinctrl-4 = <&P8_19_pwm_pin>;
            };

            P8_26_pinmux {
                compatible = "bone-pinmux-helper";
                status = "okay";
                pinctrl-names = "default", "gpio", "gpio_pu", "gpio_pd";
                pinctrl-0 = <&P8_26_default_pin>;
                pinctrl-1 = <&P8_26_gpio_pin>;
                pinctrl-2 = <&P8_26_gpio_pu_pin>;
                pinctrl-3 = <&P8_26_gpio_pd_pin>;
            };


            /************************/
            /* P9 Header            */
            /************************/

            P9_11_pinmux {
                compatible = "bone-pinmux-helper";
                status = "okay";
                pinctrl-names = "default", "gpio", "gpio_pu", "gpio_pd", "uart";
                pinctrl-0 = <&P9_11_default_pin>;
                pinctrl-1 = <&P9_11_gpio_pin>;
                pinctrl-2 = <&P9_11_gpio_pu_pin>;
                pinctrl-3 = <&P9_11_gpio_pd_pin>;
                pinctrl-4 = <&P9_11_uart_pin>;
            };

            P9_12_pinmux {
                compatible = "bone-pinmux-helper";
                status = "okay";
                pinctrl-names = "default", "gpio", "gpio_pu", "gpio_pd";
                pinctrl-0 = <&P9_12_default_pin>;
                pinctrl-1 = <&P9_12_gpio_pin>;
                pinctrl-2 = <&P9_12_gpio_pu_pin>;
                pinctrl-3 = <&P9_12_gpio_pd_pin>;
            };

            P9_13_pinmux {
                compatible = "bone-pinmux-helper";
                status = "okay";
                pinctrl-names = "default", "gpio", "gpio_pu", "gpio_pd", "uart";
                pinctrl-0 = <&P9_13_default_pin>;
                pinctrl-1 = <&P9_13_gpio_pin>;
                pinctrl-2 = <&P9_13_gpio_pu_pin>;
                pinctrl-3 = <&P9_13_gpio_pd_pin>;
                pinctrl-4 = <&P9_13_uart_pin>;
            };

            P9_14_pinmux {
                compatible = "bone-pinmux-helper";
                status = "okay";
                pinctrl-names = "default", "gpio", "gpio_pu", "gpio_pd", "pwm";
                pinctrl-0 = <&P9_14_default_pin>;
                pinctrl-1 = <&P9_14_gpio_pin>;
                pinctrl-2 = <&P9_14_gpio_pu_pin>;
                pinctrl-3 = <&P9_14_gpio_pd_pin>;
                pinctrl-4 = <&P9_14_pwm_pin>;
            };

            P9_15_pinmux {
                compatible = "bone-pinmux-helper";
                status = "okay";
                pinctrl-names = "default", "gpio", "gpio_pu", "gpio_pd", "pwm";
                pinctrl-0 = <&P9_15_default_pin>;
                pinctrl-1 = <&P9_15_gpio_pin>;
                pinctrl-2 = <&P9_15_gpio_pu_pin>;
                pinctrl-3 = <&P9_15_gpio_pd_pin>;
                pinctrl-4 = <&P9_15_pwm_pin>;
            };

            P9_16_pinmux {
                compatible = "bone-pinmux-helper";
                status = "okay";
                pinctrl-names = "default", "gpio", "gpio_pu", "gpio_pd", "pwm";
                pinctrl-0 = <&P9_16_default_pin>;
                pinctrl-1 = <&P9_16_gpio_pin>;
                pinctrl-2 = <&P9_16_gpio_pu_pin>;
                pinctrl-3 = <&P9_16_gpio_pd_pin>;
                pinctrl-4 = <&P9_16_pwm_pin>;
            };

            P9_17_pinmux {
                compatible = "bone-pinmux-helper";
                status = "okay";
                pinctrl-names = "default", "gpio", "gpio_pu", "gpio_pd", "spi", "i2c", "pwm";
                pinctrl-0 = <&P9_17_default_pin>;
                pinctrl-1 = <&P9_17_gpio_pin>;
                pinctrl-2 = <&P9_17_gpio_pu_pin>;
                pinctrl-3 = <&P9_17_gpio_pd_pin>;
                pinctrl-4 = <&P9_17_spi_pin>;
                pinctrl-5 = <&P9_17_i2c_pin>;
                pinctrl-6 = <&P9_17_pwm_pin>;
            };

            P9_18_pinmux {
                compatible = "bone-pinmux-helper";
                status = "okay";
                pinctrl-names = "default", "gpio", "gpio_pu", "gpio_pd", "spi", "i2c", "pwm";
                pinctrl-0 = <&P9_18_default_pin>;
                pinctrl-1 = <&P9_18_gpio_pin>;
                pinctrl-2 = <&P9_18_gpio_pu_pin>;
                pinctrl-3 = <&P9_18_gpio_pd_pin>;
                pinctrl-4 = <&P9_18_spi_pin>;
                pinctrl-5 = <&P9_18_i2c_pin>;
                pinctrl-6 = <&P9_18_pwm_pin>;
            };

            // I2C Pins
            // P9_19_pinmux
            // P9_20_pinmux

            P9_21_pinmux {
                compatible = "bone-pinmux-helper";
                status = "okay";
                pinctrl-names = "default", "gpio", "gpio_pu", "gpio_pd", "spi", "uart", "i2c", "pwm";
                pinctrl-0 = <&P9_21_default_pin>;
                pinctrl-1 = <&P9_21_gpio_pin>;
                pinctrl-2 = <&P9_21_gpio_pu_pin>;
                pinctrl-3 = <&P9_21_gpio_pd_pin>;
                pinctrl-4 = <&P9_21_spi_pin>;
                pinctrl-5 = <&P9_21_uart_pin>;
                pinctrl-6 = <&P9_21_i2c_pin>;
                pinctrl-7 = <&P9_21_pwm_pin>;
            };

            P9_22_pinmux {
                compatible = "bone-pinmux-helper";
                status = "okay";
                pinctrl-names = "default", "gpio", "gpio_pu", "gpio_pd", "spi", "uart", "i2c", "pwm";
                pinctrl-0 = <&P9_22_default_pin>;
                pinctrl-1 = <&P9_22_gpio_pin>;
                pinctrl-2 = <&P9_22_gpio_pu_pin>;
                pinctrl-3 = <&P9_22_gpio_pd_pin>;
                pinctrl-4 = <&P9_22_spi_pin>;
                pinctrl-5 = <&P9_22_uart_pin>;
                pinctrl-6 = <&P9_22_i2c_pin>;
                pinctrl-7 = <&P9_22_pwm_pin>;
            };

            P9_23_pinmux {
                compatible = "bone-pinmux-helper";
                status = "okay";
                pinctrl-names = "default", "gpio", "gpio_pu", "gpio_pd", "pwm";
                pinctrl-0 = <&P9_23_default_pin>;
                pinctrl-1 = <&P9_23_gpio_pin>;
                pinctrl-2 = <&P9_23_gpio_pu_pin>;
                pinctrl-3 = <&P9_23_gpio_pd_pin>;
                pinctrl-4 = <&P9_23_pwm_pin>;
            };

            P9_24_pinmux {
                compatible = "bone-pinmux-helper";
                status = "okay";
                pinctrl-names = "default", "gpio", "gpio_pu", "gpio_pd", "uart", "can", "i2c", "pruin";
                pinctrl-0 = <&P9_24_default_pin>;
                pinctrl-1 = <&P9_24_gpio_pin>;
                pinctrl-2 = <&P9_24_gpio_pu_pin>;
                pinctrl-3 = <&P9_24_gpio_pd_pin>;
                pinctrl-4 = <&P9_24_uart_pin>;
                pinctrl-5 = <&P9_24_can_pin>;
                pinctrl-6 = <&P9_24_i2c_pin>;
                pinctrl-7 = <&P9_24_pruin_pin>;
            };


            // Audio pin
            // P9_25_pinmux

            P9_26_pinmux {
                compatible = "bone-pinmux-helper";
                status = "okay";
                pinctrl-names = "default", "gpio", "gpio_pu", "gpio_pd", "uart", "can", "i2c", "pruin";
                pinctrl-0 = <&P9_26_default_pin>;
                pinctrl-1 = <&P9_26_gpio_pin>;
                pinctrl-2 = <&P9_26_gpio_pu_pin>;
                pinctrl-3 = <&P9_26_gpio_pd_pin>;
                pinctrl-4 = <&P9_26_uart_pin>;
                pinctrl-5 = <&P9_26_can_pin>;
                pinctrl-6 = <&P9_26_i2c_pin>;
                pinctrl-7 = <&P9_26_pruin_pin>;
            };

            P9_27_pinmux {
                compatible = "bone-pinmux-helper";
                status = "okay";
                pinctrl-names = "default", "gpio", "gpio_pu", "gpio_pd", "qep", "pruout", "pruin";
                pinctrl-0 = <&P9_27_default_pin>;
                pinctrl-1 = <&P9_27_gpio_pin>;
                pinctrl-2 = <&P9_27_gpio_pu_pin>;
                pinctrl-3 = <&P9_27_gpio_pd_pin>;
                pinctrl-4 = <&P9_27_qep_pin>;
                pinctrl-5 = <&P9_27_pruout_pin>;
                pinctrl-6 = <&P9_27_pruin_pin>;
            };

            // Audio pins
            // P9_28_pinmux
            // P9_29_pinmux

            P9_30_pinmux {
                compatible = "bone-pinmux-helper";
                status = "okay";
                pinctrl-names = "default", "gpio", "gpio_pu", "gpio_pd", "pwm", "spi", "pruout", "pruin";
                pinctrl-0 = <&P9_30_default_pin>;
                pinctrl-1 = <&P9_30_gpio_pin>;
                pinctrl-2 = <&P9_30_gpio_pu_pin>;
                pinctrl-3 = <&P9_30_gpio_pd_pin>;
                pinctrl-4 = <&P9_30_pwm_pin>;
                pinctrl-5 = <&P9_30_spi_pin>;
                pinctrl-6 = <&P9_30_pruout_pin>;
                pinctrl-7 = <&P9_30_pruin_pin>;
            };

            // Audio pin
            // P9_31_pinmux

            P9_41_pinmux {
                compatible = "bone-pinmux-helper";
                status = "okay";
                pinctrl-names = "default", "gpio", "gpio_pu", "gpio_pd", "timer", "pruin";
                pinctrl-0 = <&P9_41_default_pin>;
                pinctrl-1 = <&P9_41_gpio_pin>;
                pinctrl-2 = <&P9_41_gpio_pu_pin>;
                pinctrl-3 = <&P9_41_gpio_pd_pin>;
                pinctrl-4 = <&P9_41_timer_pin>;
                pinctrl-5 = <&P9_41_pruin_pin>;
            };

            P9_91_pinmux {
                compatible = "bone-pinmux-helper";
                status = "okay";
                pinctrl-names = "default", "gpio", "gpio_pu", "gpio_pd", "qep", "pruout", "pruin";
                pinctrl-0 = <&P9_91_default_pin>;
                pinctrl-1 = <&P9_91_gpio_pin>;
                pinctrl-2 = <&P9_91_gpio_pu_pin>;
                pinctrl-3 = <&P9_91_gpio_pd_pin>;
                pinctrl-4 = <&P9_91_qep_pin>;
                pinctrl-5 = <&P9_91_pruout_pin>;
                pinctrl-6 = <&P9_91_pruin_pin>;
            };

            P9_42_pinmux {
                compatible = "bone-pinmux-helper";
                status = "okay";
                pinctrl-names = "default", "gpio", "gpio_pu", "gpio_pd", "pwm", "uart", "spics", "spiclk";
                pinctrl-0 = <&P9_42_default_pin>;
                pinctrl-1 = <&P9_42_gpio_pin>;
                pinctrl-2 = <&P9_42_gpio_pu_pin>;
                pinctrl-3 = <&P9_42_gpio_pd_pin>;
                pinctrl-4 = <&P9_42_pwm_pin>;
                pinctrl-5 = <&P9_42_uart_pin>;
                pinctrl-6 = <&P9_42_spics_pin>;
                pinctrl-7 = <&P9_42_spiclk_pin>;
            };

            P9_92_pinmux {
                compatible = "bone-pinmux-helper";
                status = "okay";
                pinctrl-names = "default", "gpio", "gpio_pu", "gpio_pd", "qep", "pruout", "pruin";
                pinctrl-0 = <&P9_92_default_pin>;
                pinctrl-1 = <&P9_92_gpio_pin>;
                pinctrl-2 = <&P9_92_gpio_pu_pin>;
                pinctrl-3 = <&P9_92_gpio_pd_pin>;
                pinctrl-4 = <&P9_92_qep_pin>;
                pinctrl-5 = <&P9_92_pruout_pin>;
                pinctrl-6 = <&P9_92_pruin_pin>;
            };
        };
    };

    fragment@2 {
        target = <&ocp>;
        __overlay__ {

            // !!!WARNING!!!
            // gpio-of-helper &gpio pointers are off-by-one vs. the hardware:
            //   hardware GPIO bank 0 = &gpio1
            cape-universal {
                compatible = "gpio-of-helper";
                status = "okay";
                pinctrl-names = "default";
                pinctrl-0 = <>;

                P8_07 {
                    gpio-name = "P8_07";
                    gpio = <&gpio3 2 0>;
                    input;
                    dir-changeable;
                };
                P8_08 {
                    gpio-name = "P8_08";
                    gpio = <&gpio3 3 0>;
                    input;
                    dir-changeable;
                };
                P8_09 {
                    gpio-name = "P8_09";
                    gpio = <&gpio3 5 0>;
                    input;
                    dir-changeable;
                };
                P8_10 {
                    gpio-name = "P8_10";
                    gpio = <&gpio3 4 0>;
                    input;
                    dir-changeable;
                };
                P8_11 {
                    gpio-name = "P8_11";
                    gpio = <&gpio2 13 0>;
                    input;
                    dir-changeable;
                };
                P8_12 {
                    gpio-name = "P8_12";
                    gpio = <&gpio2 12 0>;
                    input;
                    dir-changeable;
                };
                P8_13 {
                    gpio-name = "P8_13";
                    gpio = <&gpio1 23 0>;
                    input;
                    dir-changeable;
                };
                P8_14 {
                    gpio-name = "P8_14";
                    gpio = <&gpio1 26 0>;
                    input;
                    dir-changeable;
                };
                P8_15 {
                    gpio-name = "P8_15";
                    gpio = <&gpio2 15 0>;
                    input;
                    dir-changeable;
                };
                P8_16 {
                    gpio-name = "P8_16";
                    gpio = <&gpio2 14 0>;
                    input;
                    dir-changeable;
                };
                P8_17 {
                    gpio-name = "P8_17";
                    gpio = <&gpio1 27 0>;
                    input;
                    dir-changeable;
                };
                P8_18 {
                    gpio-name = "P8_18";
                    gpio = <&gpio3 1 0>;
                    input;
                    dir-changeable;
                };
                P8_19 {
                    gpio-name = "P8_19";
                    gpio = <&gpio1 22 0>;
                    input;
                    dir-changeable;
                };
                P8_26 {
                    gpio-name = "P8_26";
                    gpio = <&gpio2 29 0>;
                    input;
                    dir-changeable;
                };


                P9_11 {
                    gpio-name = "P9_11";
                    gpio = <&gpio1 30 0>;
                    input;
                    dir-changeable;
                };
                P9_12 {
                    gpio-name = "P9_12";
                    gpio = <&gpio2 28 0>;
                    input;
                    dir-changeable;
                };
                P9_13 {
                    gpio-name = "P9_13";
                    gpio = <&gpio1 31 0>;
                    input;
                    dir-changeable;
                };
                P9_14 {
                    gpio-name = "P9_14";
                    gpio = <&gpio2 18 0>;
                    input;
                    dir-changeable;
                };
                P9_15 {
                    gpio-name = "P9_15";
                    gpio = <&gpio2 16 0>;
                    input;
                    dir-changeable;
                };
                P9_16 {
                    gpio-name = "P9_16";
                    gpio = <&gpio2 19 0>;
                    input;
                    dir-changeable;
                };
                P9_17 {
                    gpio-name = "P9_17";
                    gpio = <&gpio1 5 0>;
                    input;
                    dir-changeable;
                };
                P9_18 {
                    gpio-name = "P9_18";
                    gpio = <&gpio1 4 0>;
                    input;
                    dir-changeable;
                };

                // I2C pins
                // P9_19
                // P9_20

                P9_21 {
                    gpio-name = "P9_21";
                    gpio = <&gpio1 3 0>;
                    input;
                    dir-changeable;
                };
                P9_22 {
                    gpio-name = "P9_22";
                    gpio = <&gpio1 2 0>;
                    input;
                    dir-changeable;
                };
                P9_23 {
                    gpio-name = "P9_23";
                    gpio = <&gpio2 17 0>;
                    input;
                    dir-changeable;
                };
                P9_24 {
                    gpio-name = "P9_24";
                    gpio = <&gpio1 15 0>;
                    input;
                    dir-changeable;
                };

                // Audio pin
                // P9_25

                P9_26 {
                    gpio-name = "P9_26";
                    gpio = <&gpio1 14 0>;
                    input;
                    dir-changeable;
                };
                P9_27 {
                    gpio-name = "P9_27";
                    gpio = <&gpio4 19 0>;
                    input;
                    dir-changeable;
                };

                // Audio pins
                // P9_28
                // P9_29

                P9_30 {
                    gpio-name = "P9_30";
                    gpio = <&gpio4 16 0>;
                    input;
                    dir-changeable;
                };

                // Audio pin
                // P9_31

                P9_41 {
                    gpio-name = "P9_41";
                    gpio = <&gpio1 20 0>;
                    input;
                    dir-changeable;
                };
                P9_91 {
                    gpio-name = "P9_91";
                    gpio = <&gpio4 20 0>;
                    input;
                    dir-changeable;
                };
                P9_42 {
                    gpio-name = "P9_42";
                    gpio = <&gpio1 7 0>;
                    input;
                    dir-changeable;
                };
                P9_92 {
                    gpio-name = "P9_92";
                    gpio = <&gpio4 18 0>;
                    input;
                    dir-changeable;
                };
            };
        };
    };



    /************************/
    /* UARTs                */
    /************************/

    fragment@10 {
        target = <&uart2>;  /* really uart1 */
        __overlay__ {
            status = "okay";
            pinctrl-names = "default";
            pinctrl-0 = <>;
        };
    };

    fragment@11 {
        target = <&uart3>;  /* really uart2 */
        __overlay__ {
            status = "okay";
            pinctrl-names = "default";
            pinctrl-0 = <>;
        };
    };

    fragment@12 {
        target = <&uart5>;  /* really uart4 */
        __overlay__ {
            status = "okay";
            pinctrl-names = "default";
            pinctrl-0 = <>;
        };
    };

//    /* UART 5 only available on LCD/HDMI pins */
//    fragment@13 {
//        target = <&uart6>;  /* really uart5 */
//        __overlay__ {
//            status = "okay";
//            pinctrl-names = "default";
//            pinctrl-0 = <>;
//        };
//    };

    /************************/
    /* Timers / PWM         */
    /************************/

    fragment@20 {
        target = <&epwmss0>;
        __overlay__ {
            status = "okay";
        };
    };

    fragment@21 {
        target = <&ehrpwm0>;
        __overlay__ {
            status = "okay";
            pinctrl-names = "default";
            pinctrl-0 = <>;
        };
    };

    fragment@22 {
        target = <&ecap0>;
        __overlay__ {
            status = "okay";
            pinctrl-names = "default";
            pinctrl-0 = <>;
        };
    };

    fragment@23 {
        target = <&epwmss1>;
        __overlay__ {
            status = "okay";
        };
    };

    fragment@24 {
        target = <&ehrpwm1>;
        __overlay__ {
            status = "okay";
            pinctrl-names = "default";
            pinctrl-0 = <>;
        };
    };

    fragment@25 {
        target = <&epwmss2>;
        __overlay__ {
            status = "okay";
        };
    };

    fragment@26 {
        target = <&ehrpwm2>;
        __overlay__ {
            status = "okay";
            pinctrl-names = "default";
            pinctrl-0 = <>;
        };
    };

    fragment@27 {
        target = <&ecap2>;
        __overlay__ {
            status = "okay";
            pinctrl-names = "default";
            pinctrl-0 = <>;
        };
    };

    /************************/
    /* I2C / SPI            */
    /************************/


    fragment@30 {
        target = <&i2c1>;   /* i2c1 is numbered correctly */
        __overlay__ {
            status = "okay";
            pinctrl-names = "default";
            pinctrl-0 = <>;

            /* this is the configuration part */
            clock-frequency = <100000>;

            #address-cells = <1>;
            #size-cells = <0>;

            /* add any i2c devices on the bus here */

            // commented out example of a touchscreen (taken from BB-BONE-LCD7-01-00A4) */
            // maxtouch@4a {
            //  compatible = "mXT224";
            //  reg = <0x4a>;
            //  interrupt-parent = <&gpio4>;
            //  interrupts = <19 0x0>;
            //  atmel,irq-gpio = <&gpio4 19 0>;
            // };
        };
    };

    fragment@31 {
        target = <&spi0>;   /* spi0 is numbered correctly */
        __overlay__ {
            #address-cells = <1>;
            #size-cells = <0>;

            status = "okay";
            pinctrl-names = "default";
            pinctrl-0 = <>;

            spi0channel@0 {
                #address-cells = <1>;
                #size-cells = <0>;

                compatible = "spidev";

                reg = <0>;
                spi-max-frequency = <16000000>;
                spi-cpha;
            };


            spi0channel@1 {
                #address-cells = <1>;
                #size-cells = <0>;

                compatible = "spidev";

                reg = <1>;
                spi-max-frequency = <16000000>;
            };
        };
    };

    fragment@32 {
        target = <&spi1>;   /* spi1 is numbered correctly */
        __overlay__ {
            status = "okay";
            pinctrl-names = "default";
            pinctrl-0 = <>;

            #address-cells = <1>;
            #size-cells = <0>;

            spi1channel@0 {
                #address-cells = <1>;
                #size-cells = <0>;

                compatible = "spidev";

                reg = <0>;
                spi-max-frequency = <16000000>;
                spi-cpha;
            };

            spi1channel@1 {
                #address-cells = <1>;
                #size-cells = <0>;

                compatible = "spidev";

                reg = <1>;
                spi-max-frequency = <16000000>;
            };
        };
    };

    fragment@33 {
        target = <&dcan0>;
        __overlay__ {
            status = "okay";
            pinctrl-names = "default";
            pinctrl-0 = <>;
        };
    };

    fragment@34 {
        target = <&dcan1>;
        __overlay__ {
            status = "okay";
            pinctrl-names = "default";
            pinctrl-0 = <>;
        };
    };


    /************************/
    /* PRUSS                */
    /************************/

    fragment@40 {
        target = <&pruss>;
        __overlay__ {
            status = "okay";
        };
    };


    /************************/
    /* eQEP                 */
    /************************/

    fragment@50 {
	target = <&eqep0>;
	__overlay__ {
            pinctrl-names = "default";
            pinctrl-0 = <>;

            count_mode = <0>;  /* 0 - Quadrature mode, normal 90 phase offset cha & chb.  1 - Direction mode.  cha input = clock, chb input = direction */
            swap_inputs = <0>; /* Are channel A and channel B swapped? (0 - no, 1 - yes) */
            invert_qa = <1>;   /* Should we invert the channel A input?  */
            invert_qb = <1>;   /* Should we invert the channel B input? I invert these because my encoder outputs drive transistors that pull down the pins */
            invert_qi = <0>;   /* Should we invert the index input? */
            invert_qs = <0>;   /* Should we invert the strobe input? */

	    status = "okay";
	};
    };

    fragment@51 {
	target = <&eqep1>;
	__overlay__ {
            pinctrl-names = "default";
            pinctrl-0 = <>;

            count_mode = <0>;  /* 0 - Quadrature mode, normal 90 phase offset cha & chb.  1 - Direction mode.  cha input = clock, chb input = direction */
            swap_inputs = <0>; /* Are channel A and channel B swapped? (0 - no, 1 - yes) */
            invert_qa = <1>;   /* Should we invert the channel A input?  */
            invert_qb = <1>;   /* Should we invert the channel B input? I invert these because my encoder outputs drive transistors that pull down the pins */
            invert_qi = <0>;   /* Should we invert the index input? */
            invert_qs = <0>;   /* Should we invert the strobe input? */

	    status = "okay";
	};
    };

    fragment@52 {
	target = <&eqep2>;
	__overlay__ {
            pinctrl-names = "default";
            pinctrl-0 = <>;

            count_mode = <0>;  /* 0 - Quadrature mode, normal 90 phase offset cha & chb.  1 - Direction mode.  cha input = clock, chb input = direction */
            swap_inputs = <0>; /* Are channel A and channel B swapped? (0 - no, 1 - yes) */
            invert_qa = <1>;   /* Should we invert the channel A input?  */
            invert_qb = <1>;   /* Should we invert the channel B input? I invert these because my encoder outputs drive transistors that pull down the pins */
            invert_qi = <0>;   /* Should we invert the index input? */
            invert_qs = <0>;   /* Should we invert the strobe input? */

	    status = "okay";
	};
    };
};
